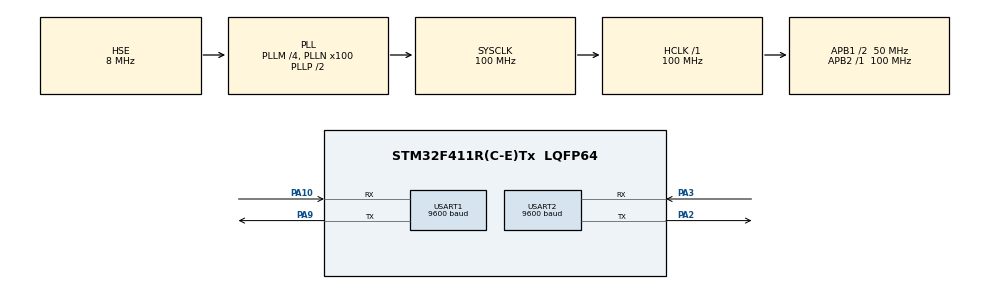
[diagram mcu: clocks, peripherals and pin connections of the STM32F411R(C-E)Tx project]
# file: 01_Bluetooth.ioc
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Mcu.Family=STM32F4
Mcu.Name=STM32F411R(C-E)Tx
Mcu.Package=LQFP64
NVIC.PriorityGroup=NVIC_PRIORITYGROUP_4
NVIC.USART1_IRQn=true\:0\:0\:false\:false\:true\:true\:true\:true
NVIC.USART2_IRQn=true\:0\:0\:false\:false\:true\:true\:true\:true
PA10.Mode=Asynchronous
PA10.Signal=USART1_RX
PA13.Mode=Serial_Wire
PA13.Signal=SYS_JTMS-SWDIO
PA14.Mode=Serial_Wire
PA14.Signal=SYS_JTCK-SWCLK
PA2.Mode=Asynchronous
PA2.Signal=USART2_TX
PA3.Mode=Asynchronous
PA3.Signal=USART2_RX
PA9.Mode=Asynchronous
PA9.Signal=USART1_TX
PH0\ -\ OSC_IN.Mode=HSE-External-Clock-Source
PH0\ -\ OSC_IN.Signal=RCC_OSC_IN
PH1\ -\ OSC_OUT.Mode=HSE-External-Clock-Source
PH1\ -\ OSC_OUT.Signal=RCC_OSC_OUT
ProjectManager.HeapSize=0x200
ProjectManager.StackSize=0x400
ProjectManager.TargetToolchain=STM32CubeIDE
RCC.48MHZClocksFreq_Value=50000000
RCC.AHBFreq_Value=100000000
RCC.APB1CLKDivider=RCC_HCLK_DIV2
RCC.APB1Freq_Value=50000000
RCC.APB1TimFreq_Value=100000000
RCC.APB2Freq_Value=100000000
RCC.APB2TimFreq_Value=100000000
RCC.CortexFreq_Value=100000000
RCC.HCLKFreq_Value=100000000
RCC.HSE_VALUE=8000000
RCC.HSI_VALUE=16000000
RCC.LSE_VALUE=32768
RCC.PLLM=4
RCC.PLLN=100
RCC.PLLSourceVirtual=RCC_PLLSOURCE_HSE
RCC.SYSCLKFreq_VALUE=100000000
RCC.SYSCLKSource=RCC_SYSCLKSOURCE_PLLCLK
RCC.VCOOutputFreq_Value=200000000
USART1.BaudRate=9600
USART1.VirtualMode=VM_ASYNC
USART2.BaudRate=9600
USART2.VirtualMode=VM_ASYNC
board=custom

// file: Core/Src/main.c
/* USER CODE BEGIN Header */
/**
  ******************************************************************************
  * @file           : main.c
  * @brief          : Main program body
  ******************************************************************************
  * @attention
  *
  * Copyright (c) 2026 STMicroelectronics.
  * All rights reserved.
  *
  * This software is licensed under terms that can be found in the LICENSE file
  * in the root directory of this software component.
  * If no LICENSE file comes with this software, it is provided AS-IS.
  *
  ******************************************************************************
  */
/* USER CODE END Header */
#include "main.h"
#include "usart.h"
#include "gpio.h"

/* USER CODE BEGIN Includes */
#include"stdio.h"
/* USER CODE END Includes */

/* USER CODE BEGIN PV */

uint8_t	rxData[16] = {0};
uint8_t	data[16]= {0}; // for hm-10
/* USER CODE END PV */

void SystemClock_Config(void);
/* USER CODE BEGIN PFP */
#ifdef __GNUC__
  /* With GCC, small printf (option LD Linker->Libraries->Small printf
     set to 'Yes') calls __io_putchar() */
  #define PUTCHAR_PROTOTYPE int __io_putchar(int ch)
#else
  #define PUTCHAR_PROTOTYPE int fputc(int ch, FILE *f)
#endif /* __GNUC__ */
PUTCHAR_PROTOTYPE
{
  /* Place your implementation of __io_putchar() here */
  /* e.g. write a character to the usart2 and Loop until the end of transmission */
   HAL_UART_Transmit(&huart2, (uint8_t *)&ch, 1, 0xFFFF);
   HAL_UART_Transmit(&huart1, (uint8_t *)&ch, 1, 0xFFFF);

  return ch;
}

void HAL_UART_RxCpltCallback(UART_HandleTypeDef *huart)
{	// transmit the data to hm-10
	HAL_UART_Transmit(&huart1, rxData, 8, 50);
	HAL_UART_Transmit(&huart1, rxData, 8, 50);
	// receive the data from hm-10
	HAL_UART_Receive(&huart1, data, 8, 50);
	HAL_UART_Receive(&huart1, data+8, 8, 50);
	// transmit the data to pc
	HAL_UART_Transmit(&huart2, data, 8, 50);
	HAL_UART_Transmit(&huart2, data+8, 8, 50);

	HAL_UART_Receive_IT(&huart2, rxData, 8);

}
/* USER CODE END PFP */

int main(void)
{

  /* MCU Configuration--------------------------------------------------------*/

  /* Reset of all peripherals, Initializes the Flash interface and the Systick. */
  HAL_Init();

  /* Configure the system clock */
  SystemClock_Config();

  /* Initialize all configured peripherals */
  MX_GPIO_Init();
  MX_USART2_UART_Init();
  MX_USART1_UART_Init();
  /* USER CODE BEGIN 2 */
  HAL_UART_Receive_IT(&huart2,rxData , 8);
  /* USER CODE END 2 */

  /* Infinite loop */
  while (1)
  {

  }
}

void SystemClock_Config(void)
{
  RCC_OscInitTypeDef RCC_OscInitStruct = {0};
  RCC_ClkInitTypeDef RCC_ClkInitStruct = {0};

  /** Configure the main internal regulator output voltage
  */
  __HAL_RCC_PWR_CLK_ENABLE();
  __HAL_PWR_VOLTAGESCALING_CONFIG(PWR_REGULATOR_VOLTAGE_SCALE1);

  /** Initializes the RCC Oscillators according to the specified parameters
  * in the RCC_OscInitTypeDef structure.
  */
  RCC_OscInitStruct.OscillatorType = RCC_OSCILLATORTYPE_HSE;
  RCC_OscInitStruct.HSEState = RCC_HSE_BYPASS;
  RCC_OscInitStruct.PLL.PLLState = RCC_PLL_ON;
  RCC_OscInitStruct.PLL.PLLSource = RCC_PLLSOURCE_HSE;
  RCC_OscInitStruct.PLL.PLLM = 4;
  RCC_OscInitStruct.PLL.PLLN = 100;
  RCC_OscInitStruct.PLL.PLLP = RCC_PLLP_DIV2;
  RCC_OscInitStruct.PLL.PLLQ = 4;
  if (HAL_RCC_OscConfig(&RCC_OscInitStruct) != HAL_OK)
  {
    Error_Handler();
  }

  /** Initializes the CPU, AHB and APB buses clocks
  */
  RCC_ClkInitStruct.ClockType = RCC_CLOCKTYPE_HCLK|RCC_CLOCKTYPE_SYSCLK
                              |RCC_CLOCKTYPE_PCLK1|RCC_CLOCKTYPE_PCLK2;
  RCC_ClkInitStruct.SYSCLKSource = RCC_SYSCLKSOURCE_PLLCLK;
  RCC_ClkInitStruct.AHBCLKDivider = RCC_SYSCLK_DIV1;
  RCC_ClkInitStruct.APB1CLKDivider = RCC_HCLK_DIV2;
  RCC_ClkInitStruct.APB2CLKDivider = RCC_HCLK_DIV1;

  if (HAL_RCC_ClockConfig(&RCC_ClkInitStruct, FLASH_LATENCY_3) != HAL_OK)
  {
    Error_Handler();
  }
}

void Error_Handler(void)
{
  __disable_irq();
  while (1)
  {
  }
}
